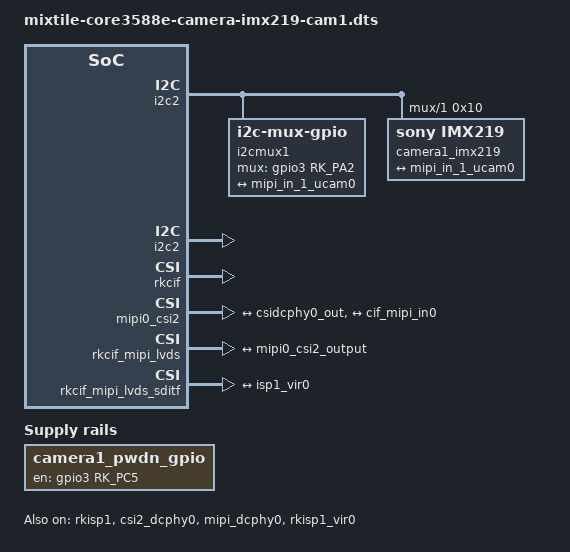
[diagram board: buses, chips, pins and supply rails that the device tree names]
/dts-v1/;
/plugin/;

#include <dt-bindings/clock/rk3588-cru.h>
#include <dt-bindings/power/rk3588-power.h>
#include <dt-bindings/gpio/gpio.h>
#include <dt-bindings/pinctrl/rockchip.h>

/ {
	metadata {
		title = "Enable IMX219 camera on CAM1";
		compatible = "mixtile,core3588e";
		category = "camera";
		exclusive = "csi2_dcphy0";
		description = "Enable a Sony IMX219 camera module on CAM1.";
	};

	fragment@0 {
		target-path = "/";
		__overlay__ {
			camera1_pwdn_gpio: camera1-pwdn-gpio {
				status = "okay";
				compatible = "regulator-fixed";
				regulator-name = "camera1_pwdn_gpio";
				regulator-always-on;
				regulator-boot-on;
				enable-active-high;
				gpio = <&gpio3 RK_PC5 GPIO_ACTIVE_HIGH>;
			};

			i2cmux1:i2cmux1 {
				compatible = "i2c-mux-gpio";
				#address-cells = <1>;
				#size-cells = <0>;
				i2c-parent = <&i2c2>;
				mux-gpios = <&gpio3 RK_PA2 GPIO_ACTIVE_HIGH>;

				i2c_cam1: i2c@1 {
					reg = <1>;
					#address-cells = <1>;
					#size-cells = <0>;
				};
			};
		};
	};

	fragment@1 {
		target = <&i2c2>;
		__overlay__ {
			status = "okay";
			pinctrl-names = "default";
			pinctrl-0 = <&i2c2m4_xfer>;
		};
	};

	fragment@2 {
		target = <&i2cmux1>;
		__overlay__ {
			status = "okay";
		};
	};

	fragment@3 {
		target = <&rkcif>;
		__overlay__ {
			status = "okay";
		};
	};

	fragment@4 {
		target = <&rkcif_mmu>;
		__overlay__ {
			status = "okay";
		};
	};

	fragment@5 {
		target = <&rkisp1>;
		__overlay__ {
			status = "okay";
		};
	};

	fragment@6 {
		target = <&isp1_mmu>;
		__overlay__ {
			status = "okay";
		};
	};

	fragment@7 {
		target = <&i2c_cam1>;
		__overlay__ {
			camera1_imx219: camera1-imx219@10 {
				status = "okay";
				compatible = "sony,imx219";
				reg = <0x10>;
				clocks = <&cru CLK_MIPI_CAMARAOUT_M1>;
				clock-names = "xvclk";
				pinctrl-names = "default";
				pinctrl-0 = <&mipim1_camera1_clk>;
				power-domains = <&power RK3588_PD_VI>;
				rockchip,camera-module-index = <1>;
				rockchip,camera-module-facing = "back";
				rockchip,camera-module-name = "rpi-camera-v2";
				rockchip,camera-module-lens-name = "default";

				port {
					imx219_out1: endpoint {
						remote-endpoint = <&mipi_in_1_ucam0>;
						data-lanes = <1 2>;
						link-frequencies = /bits/ 64 <456000000>;
					};
				};
			};
		};
	};

	fragment@8 {
		target = <&csi2_dcphy0>;
		__overlay__ {
			status = "okay";
			ports {
				#address-cells = <1>;
				#size-cells = <0>;
				port@0 {
					reg = <0>;
					#address-cells = <1>;
					#size-cells = <0>;
					mipi_in_1_ucam0: endpoint@1 {
						reg = <1>;
						remote-endpoint = <&imx219_out1>;
						data-lanes = <1 2>;
					};
				};
				port@1 {
					reg = <1>;
					#address-cells = <1>;
					#size-cells = <0>;
					csidcphy0_out: endpoint@0 {
						reg = <0>;
						remote-endpoint = <&mipi0_csi2_input>;
					};
				};
			};
		};
	};

	fragment@9 {
		target = <&mipi_dcphy0>;
		__overlay__ {
			status = "okay";
		};
	};

	fragment@10 {
		target = <&mipi0_csi2>;
		__overlay__ {
			status = "okay";
			ports {
				#address-cells = <1>;
				#size-cells = <0>;
				port@0 {
					reg = <0>;
					#address-cells = <1>;
					#size-cells = <0>;
					mipi0_csi2_input: endpoint@1 {
						reg = <1>;
						remote-endpoint = <&csidcphy0_out>;
					};
				};
				port@1 {
					reg = <1>;
					#address-cells = <1>;
					#size-cells = <0>;
					mipi0_csi2_output: endpoint@0 {
						reg = <0>;
						remote-endpoint = <&cif_mipi_in0>;
					};
				};
			};
		};
	};

	fragment@11 {
		target = <&rkcif_mipi_lvds>;
		__overlay__ {
			status = "okay";
			port {
				cif_mipi_in0: endpoint {
					remote-endpoint = <&mipi0_csi2_output>;
				};
			};
		};
	};

	fragment@12 {
		target = <&rkcif_mipi_lvds_sditf>;
		__overlay__ {
			status = "okay";

			port {
				mipi1_lvds_sditf: endpoint {
					remote-endpoint = <&isp1_vir0>;
				};
			};
		};
	};

	fragment@13 {
		target = <&rkisp1_vir0>;
		__overlay__ {
			status = "okay";

			port {
				#address-cells = <1>;
				#size-cells = <0>;

				isp1_vir0: endpoint@0 {
					reg = <0>;
					remote-endpoint = <&mipi1_lvds_sditf>;
				};
			};
		};
	};
};
